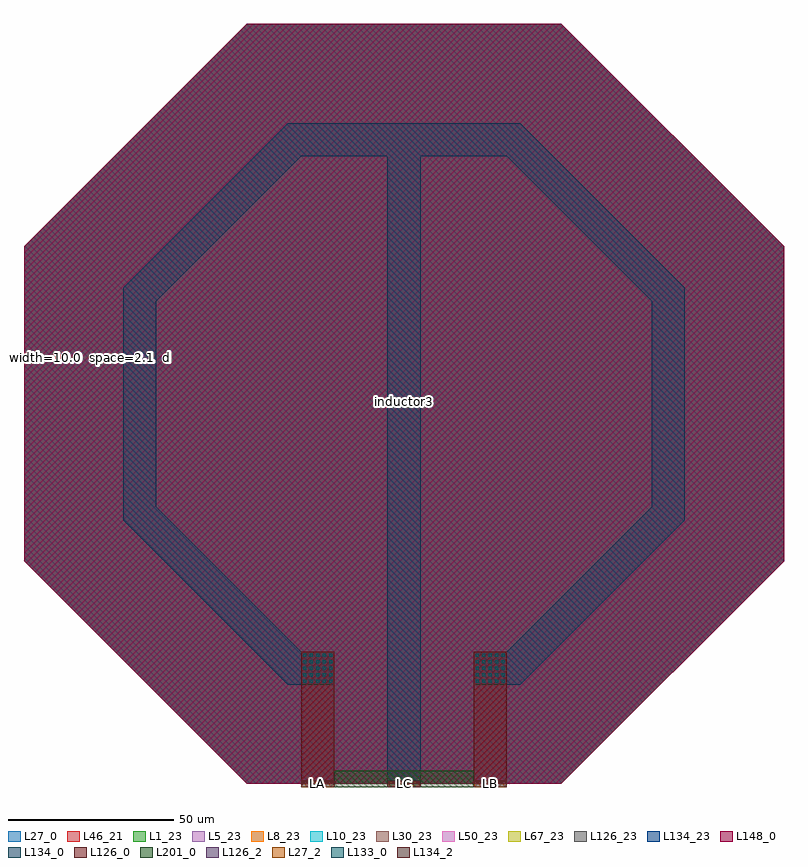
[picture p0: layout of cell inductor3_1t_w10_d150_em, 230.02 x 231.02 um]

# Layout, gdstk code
import gdstk
lib = gdstk.Library(unit=1e-6, precision=1e-09)
def R(c, l, rs):  # rectangles x0, y0, x1, y1
    for r in rs: c.add(gdstk.rectangle(r[:2], r[2:], *l))
def A(c, l, x, y, w, h, nx, ny, dx, dy):  # array of equal rectangles
    R(c, l, [(x+i*dx, y+j*dy, x+i*dx+w, y+j*dy+h) for i in range(nx) for j in range(ny)])
def P(c, l, *ps):  # polygons
    for p in ps: c.add(gdstk.Polygon(p, *l))
L1_23 = (1, 23)
L5_23 = (5, 23)
L8_23 = (8, 23)
L10_23 = (10, 23)
L27_0 = (27, 0)
L27_2 = (27, 2)
L30_23 = (30, 23)
L46_21 = (46, 21)
L50_23 = (50, 23)
L67_23 = (67, 23)
L126_0 = (126, 0)
L126_2 = (126, 2)
L126_23 = (126, 23)
L133_0 = (133, 0)
L134_0 = (134, 0)
L134_2 = (134, 2)
L134_23 = (134, 23)
L148_0 = (148, 0)
L201_0 = (201, 0)

inductor3_1t_w10_d150_em = lib.new_cell('inductor3_1t_w10_d150_em')
P(inductor3_1t_w10_d150_em, L1_23, [(-47.635,0),(-115.01,67.375),(-115.01,162.645),(-47.635,230.02),(47.635,230.02),(115.01,162.645),(115.01,67.375),(47.635,0)])
P(inductor3_1t_w10_d150_em, L5_23, [(-47.635,0),(-115.01,67.375),(-115.01,162.645),(-47.635,230.02),(47.635,230.02),(115.01,162.645),(115.01,67.375),(47.635,0)])
P(inductor3_1t_w10_d150_em, L8_23, [(-47.635,0),(-115.01,67.375),(-115.01,162.645),(-47.635,230.02),(47.635,230.02),(115.01,162.645),(115.01,67.375),(47.635,0)])
P(inductor3_1t_w10_d150_em, L10_23, [(-47.635,0),(-115.01,67.375),(-115.01,162.645),(-47.635,230.02),(47.635,230.02),(115.01,162.645),(115.01,67.375),(47.635,0)])
P(inductor3_1t_w10_d150_em, L27_0, [(-47.635,0),(-115.01,67.375),(-115.01,162.645),(-47.635,230.02),(47.635,230.02),(115.01,162.645),(115.01,67.375),(47.635,0)])
A(inductor3_1t_w10_d150_em, L27_2, -31.11, -1, 10, 2, 3, 1, 26.11, 0)
P(inductor3_1t_w10_d150_em, L30_23, [(-47.635,0),(-115.01,67.375),(-115.01,162.645),(-47.635,230.02),(47.635,230.02),(115.01,162.645),(115.01,67.375),(47.635,0)])
P(inductor3_1t_w10_d150_em, L46_21, [(-47.635,0),(-115.01,67.375),(-115.01,162.645),(-47.635,230.02),(47.635,230.02),(115.01,162.645),(115.01,67.375),(47.635,0)])
P(inductor3_1t_w10_d150_em, L50_23, [(-47.635,0),(-115.01,67.375),(-115.01,162.645),(-47.635,230.02),(47.635,230.02),(115.01,162.645),(115.01,67.375),(47.635,0)])
P(inductor3_1t_w10_d150_em, L67_23, [(-47.635,0),(-115.01,67.375),(-115.01,162.645),(-47.635,230.02),(47.635,230.02),(115.01,162.645),(115.01,67.375),(47.635,0)])
R(inductor3_1t_w10_d150_em, L126_0, [(-31.11,-1,-21.11,40), (21.11,-1,31.11,40)])
R(inductor3_1t_w10_d150_em, L126_2, [(-31.11,-1,-21.11,1), (-31.11,-1,-21.11,1), (21.11,-1,31.11,1), (21.11,-1,31.11,1)])
P(inductor3_1t_w10_d150_em, L126_23, [(-47.635,0),(-115.01,67.375),(-115.01,162.645),(-47.635,230.02),(47.635,230.02),(115.01,162.645),(115.01,67.375),(47.635,0)])
A(inductor3_1t_w10_d150_em, L133_0, -30.48, 30.63, 0.9, 0.9, 5, 5, 1.96, 1.96)
A(inductor3_1t_w10_d150_em, L133_0, 21.74, 30.63, 0.9, 0.9, 5, 5, 1.96, 1.96)
P(inductor3_1t_w10_d150_em, L134_0, [(-5,-1),(-5,190),(-31.065,190),(-75,146.065),(-75,83.935),(-31.065,40),(-21.11,40),(-21.11,30),(-35.21,30),(-85,79.79),(-85,150.21),(-35.21,200),(35.21,200),(85,150.21),(85,79.79),(35.21,30),(21.11,30),(21.11,40),(31.065,40),(75,83.935),(75,146.065),(31.065,190),(5,190),(5,-1)])
R(inductor3_1t_w10_d150_em, L134_2, [(-5,-1,5,1), (-5,-1,5,1)])
P(inductor3_1t_w10_d150_em, L134_23, [(-47.635,0),(-115.01,67.375),(-115.01,162.645),(-47.635,230.02),(47.635,230.02),(115.01,162.645),(115.01,67.375),(47.635,0)])
P(inductor3_1t_w10_d150_em, L148_0, [(-47.635,0),(-115.01,67.375),(-115.01,162.645),(-47.635,230.02),(47.635,230.02),(115.01,162.645),(115.01,67.375),(47.635,0)])
R(inductor3_1t_w10_d150_em, L201_0, [(-21.11,-1,21.11,4)])
inductor3_1t_w10_d150_em.add(gdstk.Label('LC', (0,0), layer=27, texttype=25))
inductor3_1t_w10_d150_em.add(gdstk.Label('LB', (26.11,0), layer=27, texttype=25))
inductor3_1t_w10_d150_em.add(gdstk.Label('LA', (-26.11,0), layer=27, texttype=25))
inductor3_1t_w10_d150_em.add(gdstk.Label('inductor3', (0,115.575), layer=63, texttype=0))
inductor3_1t_w10_d150_em.add(gdstk.Label('  width=10.0\n  space=2.1\n  diameter=150.00\n  turns=1', (-115.01,128.952), layer=63, texttype=0))

lib.write_gds('inductor3_1t_w10_d150_em.gds')
